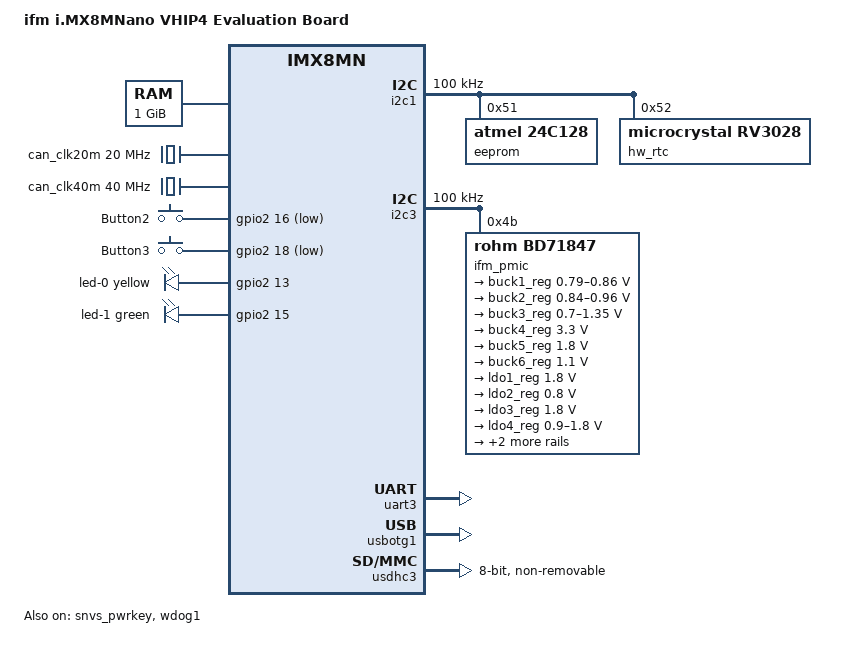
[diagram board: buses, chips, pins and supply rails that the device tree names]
// SPDX-License-Identifier: (GPL-2.0+ OR MIT)
/*
 * Copyright 2020-2024 Fedor Ross <fedor.ross@ifm.com>
 */

#include "imx8mn.dtsi"
#include <dt-bindings/leds/common.h>

/ {
	model = "ifm i.MX8MNano VHIP4 Evaluation Board";
	compatible = "ifm,imx8mn-vhip4-evalboard", "ifm,imx8mn-vhip4", "fsl,imx8mn";

	aliases {
		mmc0 = &usdhc3;
		mmc1 = &usdhc1;
		mmc2 = &usdhc2;
		rtc0 = &hw_rtc;
		rtc1 = &snvs_rtc;
	};

	chosen {
		bootargs = "console=ttymxc2,115200 earlycon=ec_imx6q,0x30880000,115200 rootwait";
		stdout-path = &uart3;
	};

	memory@40000000 {
		device_type = "memory";
		reg = <0x0 0x40000000 0 0x40000000>;
	};

	can_clk20m: can-clk20m {
		compatible = "fixed-clock";
		#clock-cells = <0>;
		clock-frequency = <20000000>;
	};

	can_clk40m: can-clk40m {
		compatible = "fixed-clock";
		#clock-cells = <0>;
		clock-frequency = <40000000>;
	};

	gpio-keys {
		compatible = "gpio-keys";
		pinctrl-0 = <&pinctrl_gpio_button>;
		pinctrl-names = "default";

		button-2 {
			label = "Button2";
			gpios = <&gpio2 16 GPIO_ACTIVE_LOW>;
			linux,code = <KEY_2>;
		};

		button-3 {
			label = "Button3";
			gpios = <&gpio2 18 GPIO_ACTIVE_LOW>;
			linux,code = <KEY_3>;
		};
	};

	ifm_led: led {
		compatible = "gpio-leds";
		pinctrl-0 = <&pinctrl_gpio_led>;
		pinctrl-names = "default", "extended";

		led-0 {
			function = LED_FUNCTION_STATUS;
			function-enumerator = <1>;
			color = <LED_COLOR_ID_YELLOW>;
			gpios = <&gpio2 13 GPIO_ACTIVE_HIGH>;
			default-state = "keep";
		};

		led-1 {
			function = LED_FUNCTION_STATUS;
			function-enumerator = <2>;
			color = <LED_COLOR_ID_GREEN>;
			gpios = <&gpio2 15 GPIO_ACTIVE_HIGH>;
			default-state = "keep";
		};
	};
};

&A53_0 {
	cpu-supply = <&buck2_reg>;
};

&A53_1 {
	cpu-supply = <&buck2_reg>;
};

&A53_2 {
	cpu-supply = <&buck2_reg>;
};

&A53_3 {
	cpu-supply = <&buck2_reg>;
};

&ddrc {
	operating-points-v2 = <&ddrc_opp_table>;

	ddrc_opp_table: opp-table {
		compatible = "operating-points-v2";

		opp-25000000 {
			opp-hz = /bits/ 64 <25000000>;
		};

		opp-100000000 {
			opp-hz = /bits/ 64 <100000000>;
		};

		opp-600000000 {
			opp-hz = /bits/ 64 <600000000>;
		};
	};
};

&ecspi1 {
	pinctrl-names = "default";
	pinctrl-0 = <&pinctrl_ecspi1>, <&pinctrl_ecspi1_cs>;
	/delete-property/ dmas;
	/delete-property/ dma-names;
};

&ecspi3 {
	pinctrl-names = "default";
	pinctrl-0 = <&pinctrl_ecspi3>, <&pinctrl_ecspi3_cs>;
	/delete-property/ dmas;
	/delete-property/ dma-names;
};

&gpu {
	/* SoC has GPU fused off. */
	status = "disabled";
};

&i2c1 {
	clock-frequency = <100000>;
	pinctrl-names = "default", "gpio";
	pinctrl-0 = <&pinctrl_i2c1>;
	pinctrl-1 = <&pinctrl_i2c1_gpio>;

	eeprom@51 {
		compatible = "atmel,24c128";
		reg = <0x51>;
	};

	hw_rtc: rtc@52 {
		compatible = "microcrystal,rv3028";
		reg = <0x52>;
	};
};

&i2c3 {
	clock-frequency = <100000>;
	pinctrl-names = "default", "gpio";
	pinctrl-0 = <&pinctrl_i2c3>;
	pinctrl-1 = <&pinctrl_i2c3_gpio>;

	ifm_pmic: pmic@4b {
		compatible = "rohm,bd71847";
		reg = <0x4b>;
		pinctrl-0 = <&pinctrl_pmic>;
		rohm,reset-snvs-powered;

		regulators {
			buck1_reg: BUCK1 {
				regulator-name = "buck1";
				regulator-min-microvolt = <790000>;
				regulator-max-microvolt = <860000>;
				regulator-boot-on;
				regulator-always-on;
				regulator-ramp-delay = <1250>;
			};

			buck2_reg: BUCK2 {
				regulator-name = "buck2";
				regulator-min-microvolt = <840000>;
				regulator-max-microvolt = <960000>;
				regulator-boot-on;
				regulator-always-on;
				regulator-ramp-delay = <1250>;
			};

			buck3_reg: BUCK3 {
				// BUCK5 in datasheet
				regulator-name = "buck3";
				regulator-min-microvolt = <700000>;
				regulator-max-microvolt = <1350000>;
			};

			buck4_reg: BUCK4 {
				// BUCK6 in datasheet
				regulator-name = "buck4";
				regulator-min-microvolt = <3300000>;
				regulator-max-microvolt = <3300000>;
				regulator-boot-on;
				regulator-always-on;
			};

			buck5_reg: BUCK5 {
				// BUCK7 in datasheet
				regulator-name = "buck5";
				regulator-min-microvolt = <1800000>;
				regulator-max-microvolt = <1800000>;
				regulator-boot-on;
				regulator-always-on;
			};

			buck6_reg: BUCK6 {
				// BUCK8 in datasheet
				regulator-name = "buck6";
				regulator-min-microvolt = <1100000>;
				regulator-max-microvolt = <1100000>;
				regulator-boot-on;
				regulator-always-on;
			};

			ldo1_reg: LDO1 {
				regulator-name = "ldo1";
				regulator-min-microvolt = <1800000>;
				regulator-max-microvolt = <1800000>;
				regulator-boot-on;
				regulator-always-on;
			};

			ldo2_reg: LDO2 {
				regulator-name = "ldo2";
				regulator-min-microvolt = <800000>;
				regulator-max-microvolt = <800000>;
				regulator-boot-on;
				regulator-always-on;
			};

			ldo3_reg: LDO3 {
				regulator-name = "ldo3";
				regulator-min-microvolt = <1800000>;
				regulator-max-microvolt = <1800000>;
				regulator-boot-on;
				regulator-always-on;
			};

			ldo4_reg: LDO4 {
				regulator-name = "ldo4";
				regulator-min-microvolt = <900000>;
				regulator-max-microvolt = <1800000>;
			};

			ldo5_reg: LDO5 {
				regulator-name = "ldo5";
				regulator-min-microvolt = <3300000>;
				regulator-max-microvolt = <3300000>;
			};

			ldo6_reg: LDO6 {
				regulator-name = "ldo6";
				regulator-min-microvolt = <1200000>;
				regulator-max-microvolt = <1200000>;
				regulator-boot-on;
				regulator-always-on;
			};
		};
	};
};

&iomuxc {
	pinctrl_ecspi1: ecspi1-grp {
		fsl,pins = <
			MX8MN_IOMUXC_ECSPI1_SCLK_ECSPI1_SCLK		0x110
			MX8MN_IOMUXC_ECSPI1_MOSI_ECSPI1_MOSI		0x110
			MX8MN_IOMUXC_ECSPI1_MISO_ECSPI1_MISO		0x190
		>;
	};

	pinctrl_ecspi3: ecspi3-grp {
		fsl,pins = <
			/* SPI3_CAN_CLK */
			MX8MN_IOMUXC_UART1_RXD_ECSPI3_SCLK		0x110
			/* SPI3_CAN_MOSI */
			MX8MN_IOMUXC_UART1_TXD_ECSPI3_MOSI		0x110
			/* SPI3_CAN_MISO */
			MX8MN_IOMUXC_UART2_RXD_ECSPI3_MISO		0x190
		>;
	};

	pinctrl_gpio_button: gpiobutton-grp {
		fsl,pins = <
			MX8MN_IOMUXC_SD2_DATA1_GPIO2_IO16		0x96
			MX8MN_IOMUXC_SD2_DATA3_GPIO2_IO18		0x96
		>;
	};

	pinctrl_gpio_led: gpioled-grp {
		fsl,pins = <
			MX8MN_IOMUXC_SD2_CLK_GPIO2_IO13			0x116
			MX8MN_IOMUXC_SD2_DATA0_GPIO2_IO15		0x116
		>;
	};

	pinctrl_usdhc3: usdhc3-grp {
		fsl,pins = <
			MX8MN_IOMUXC_NAND_WE_B_USDHC3_CLK		0x40000110
			MX8MN_IOMUXC_NAND_WP_B_USDHC3_CMD		0x1d0
			MX8MN_IOMUXC_NAND_DATA04_USDHC3_DATA0		0x1d0
			MX8MN_IOMUXC_NAND_DATA05_USDHC3_DATA1		0x1d0
			MX8MN_IOMUXC_NAND_DATA06_USDHC3_DATA2		0x1d0
			MX8MN_IOMUXC_NAND_DATA07_USDHC3_DATA3		0x1d0
			MX8MN_IOMUXC_NAND_RE_B_USDHC3_DATA4		0x1d0
			MX8MN_IOMUXC_NAND_CE2_B_USDHC3_DATA5		0x1d0
			MX8MN_IOMUXC_NAND_CE3_B_USDHC3_DATA6		0x1d0
			MX8MN_IOMUXC_NAND_CLE_USDHC3_DATA7		0x1d0
			MX8MN_IOMUXC_NAND_CE1_B_USDHC3_STROBE		0x190
			MX8MN_IOMUXC_NAND_READY_B_USDHC3_RESET_B	0x150
		>;
	};

	pinctrl_usdhc3_100mhz: usdhc3-100mhz-grp {
		fsl,pins = <
			MX8MN_IOMUXC_NAND_WE_B_USDHC3_CLK		0x40000114
			MX8MN_IOMUXC_NAND_WP_B_USDHC3_CMD		0x1d4
			MX8MN_IOMUXC_NAND_DATA04_USDHC3_DATA0		0x1d4
			MX8MN_IOMUXC_NAND_DATA05_USDHC3_DATA1		0x1d4
			MX8MN_IOMUXC_NAND_DATA06_USDHC3_DATA2		0x1d4
			MX8MN_IOMUXC_NAND_DATA07_USDHC3_DATA3		0x1d4
			MX8MN_IOMUXC_NAND_RE_B_USDHC3_DATA4		0x1d4
			MX8MN_IOMUXC_NAND_CE2_B_USDHC3_DATA5		0x1d4
			MX8MN_IOMUXC_NAND_CE3_B_USDHC3_DATA6		0x1d4
			MX8MN_IOMUXC_NAND_CLE_USDHC3_DATA7		0x1d4
			MX8MN_IOMUXC_NAND_CE1_B_USDHC3_STROBE		0x194
			MX8MN_IOMUXC_NAND_READY_B_USDHC3_RESET_B	0x150
		>;
	};

	pinctrl_usdhc3_200mhz: usdhc3-200mhz-grp {
		fsl,pins = <
			MX8MN_IOMUXC_NAND_WE_B_USDHC3_CLK		0x40000116
			MX8MN_IOMUXC_NAND_WP_B_USDHC3_CMD		0x1d6
			MX8MN_IOMUXC_NAND_DATA04_USDHC3_DATA0		0x1d6
			MX8MN_IOMUXC_NAND_DATA05_USDHC3_DATA1		0x1d6
			MX8MN_IOMUXC_NAND_DATA06_USDHC3_DATA2		0x1d6
			MX8MN_IOMUXC_NAND_DATA07_USDHC3_DATA3		0x1d6
			MX8MN_IOMUXC_NAND_RE_B_USDHC3_DATA4		0x1d6
			MX8MN_IOMUXC_NAND_CE2_B_USDHC3_DATA5		0x1d6
			MX8MN_IOMUXC_NAND_CE3_B_USDHC3_DATA6		0x1d6
			MX8MN_IOMUXC_NAND_CLE_USDHC3_DATA7		0x1d6
			MX8MN_IOMUXC_NAND_CE1_B_USDHC3_STROBE		0x196
			MX8MN_IOMUXC_NAND_READY_B_USDHC3_RESET_B	0x150
		>;
	};

	pinctrl_wdog: wdog-grp {
		fsl,pins = <
			MX8MN_IOMUXC_GPIO1_IO02_WDOG1_WDOG_B		0x64
		>;
	};
};

&pgc_gpumix {
	/* SoC has GPU fused off. */
	status = "disabled";
};

&snvs_pwrkey {
	status = "okay";
};

&uart3 { /* console */
	pinctrl-names = "default";
	pinctrl-0 = <&pinctrl_uart3>;
	status = "okay";
};

&usbotg1 {
	status = "okay";
};

&usdhc3 {
	assigned-clocks = <&clk IMX8MN_CLK_USDHC3_ROOT>;
	assigned-clock-rates = <400000000>;
	pinctrl-names = "default", "state_100mhz", "state_200mhz";
	pinctrl-0 = <&pinctrl_usdhc3>;
	pinctrl-1 = <&pinctrl_usdhc3_100mhz>;
	pinctrl-2 = <&pinctrl_usdhc3_200mhz>;
	bus-width = <8>;
	non-removable;
	status = "okay";
};

&wdog1 {
	pinctrl-names = "default";
	pinctrl-0 = <&pinctrl_wdog>;
	fsl,ext-reset-output;
	status = "okay";
};
